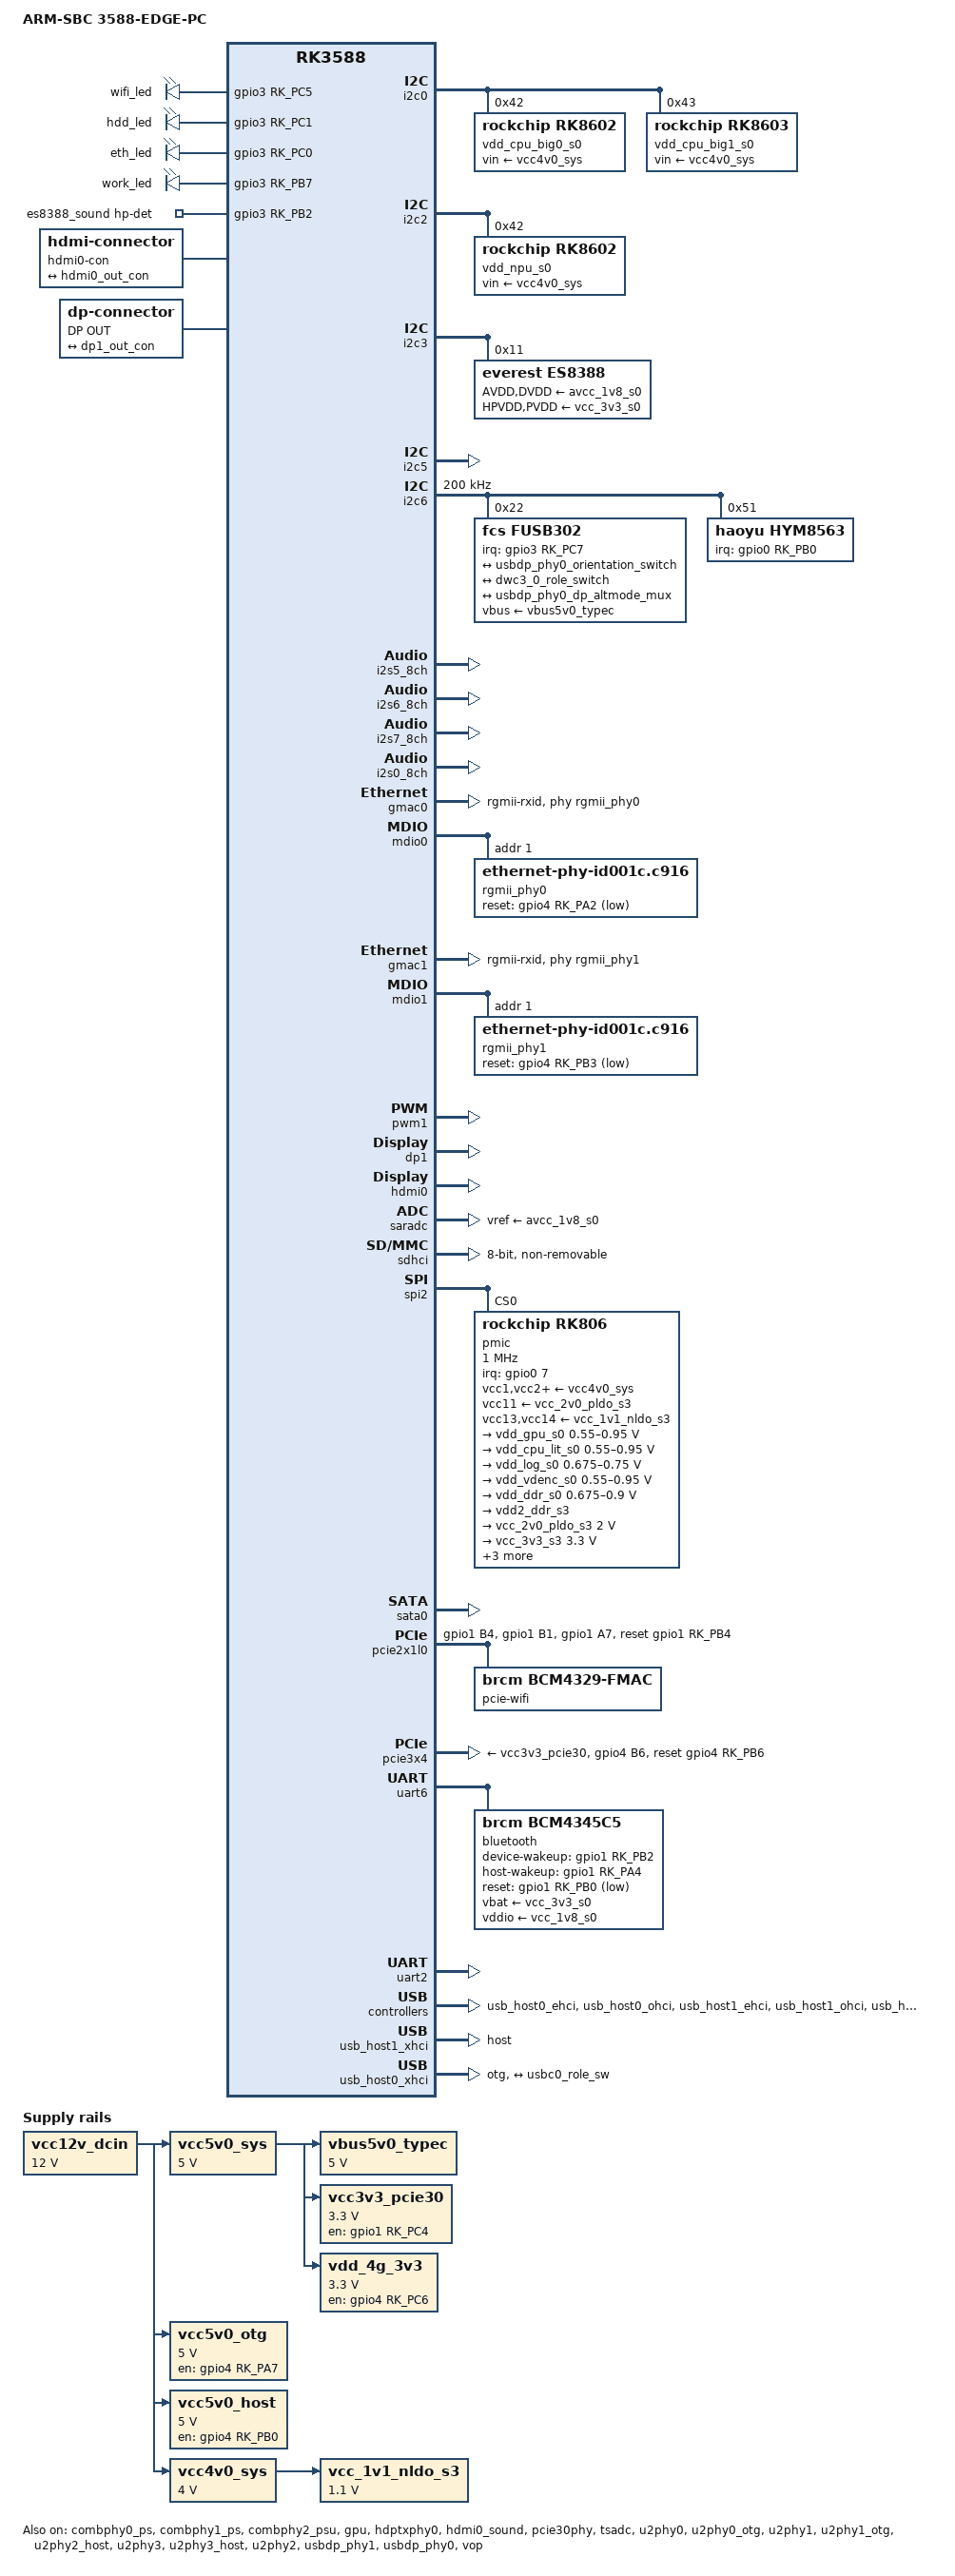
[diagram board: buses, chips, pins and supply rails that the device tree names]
// SPDX-License-Identifier: (GPL-2.0+ OR MIT)
/*
 * Copyright (c) ARM-SBC
 * Copyright (c) 2024 Subair Mullappilly msubair@hotmail.com
 *
 */

/dts-v1/;

#include <dt-bindings/gpio/gpio.h>
#include <dt-bindings/input/input.h>
#include <dt-bindings/pinctrl/rockchip.h>
#include <dt-bindings/usb/pd.h>
#include <dt-bindings/soc/rockchip,vop2.h>
#include "rk3588.dtsi"

/ {
	model = "ARM-SBC 3588-EDGE-PC";
	compatible = "armsbc,armsbc-3588-edge", "rockchip,rk3588";

	aliases {
		mmc0 = &sdhci;
		ethernet0 = &gmac0;
		ethernet1 = &gmac1;
	};

	chosen {
		stdout-path = "serial2:1500000n8";
	};
	
	leds: leds {
		compatible = "gpio-leds";
		wifi_led: wifi-led {
			gpios = <&gpio3 RK_PC5 GPIO_ACTIVE_HIGH>;
			default-state = "off";
		};
		hdd_led: hdd-led {
			gpios = <&gpio3 RK_PC1 GPIO_ACTIVE_HIGH>;
			default-state = "off";
		};
		eth_led: eth-led {
			gpios = <&gpio3 RK_PC0 GPIO_ACTIVE_HIGH>;
			default-state = "off";
		};
		work_led: work-led {
			gpios = <&gpio3 RK_PB7 GPIO_ACTIVE_HIGH>;
			default-state = "on";
		};
	};
	
	es8388_sound: es8388-sound {
		status = "okay";
		compatible = "rockchip,multicodecs-card";
		rockchip,card-name = "rockchip-es8388";
		hp-det-gpio = <&gpio3 RK_PB2 GPIO_ACTIVE_HIGH>;
		rockchip,format = "i2s";
		rockchip,mclk-fs = <256>;
		rockchip,cpu = <&i2s0_8ch>;
		rockchip,codec = <&es8388>;
		rockchip,audio-routing =
			"Headphone", "LOUT1",
			"Headphone", "ROUT1",
			"Speaker", "LOUT2",
			"Speaker", "ROUT2",
			"Headphone", "Headphone Power",
			"Headphone", "Headphone Power",
			"Speaker", "Speaker Power",
			"Speaker", "Speaker Power",
			"LINPUT1", "Main Mic",
			"LINPUT2", "Main Mic",
			"RINPUT1", "Headset Mic",
			"RINPUT2", "Headset Mic";
		pinctrl-names = "default";
		pinctrl-0 = <&hp_det>;
	};
	
	hdmi0-con {
		compatible = "hdmi-connector";
		type = "a";

		port {
			hdmi0_con_in: endpoint {
				remote-endpoint = <&hdmi0_out_con>;
			};
		};
	};
	
	dp-con {
		compatible = "dp-connector";
		label = "DP OUT";
		type = "full-size";

		port {
			dp_con_in: endpoint {
				remote-endpoint = <&dp1_out_con>;
			};
		};
	};

    	vcc12v_dcin: vcc12v-dcin-regulator {
		compatible = "regulator-fixed";
		regulator-name = "vcc12v_dcin";
		regulator-always-on;
		regulator-boot-on;
		regulator-min-microvolt = <12000000>;
		regulator-max-microvolt = <12000000>;
	};

	vcc5v0_sys: vcc5v0-sys-regulator {
		compatible = "regulator-fixed";
		regulator-name = "vcc5v0_sys";
		regulator-always-on;
		regulator-boot-on;
		regulator-min-microvolt = <5000000>;
		regulator-max-microvolt = <5000000>;
		vin-supply = <&vcc12v_dcin>;
	};
	
	vcc5v0_otg: vcc5v0-otg-regulator {
		compatible = "regulator-fixed";
		regulator-name = "vcc5v0_otg";
		regulator-always-on;
		regulator-boot-on;
		enable-active-high;
		gpio = <&gpio4 RK_PA7 GPIO_ACTIVE_HIGH>;
		pinctrl-names = "default";
		pinctrl-0 = <&otg_pwren>;
		regulator-min-microvolt = <5000000>;
		regulator-max-microvolt = <5000000>;
		vin-supply = <&vcc12v_dcin>;
	};
	
	vcc5v0_host: vcc5v0-host-regulator {
		compatible = "regulator-fixed";
		regulator-name = "vcc5v0_host";
		regulator-always-on;
		regulator-boot-on;
		enable-active-high;
		gpio = <&gpio4 RK_PB0 GPIO_ACTIVE_HIGH>;
		pinctrl-names = "default";
		pinctrl-0 = <&host_pwren>;
		regulator-min-microvolt = <5000000>;
		regulator-max-microvolt = <5000000>;
		vin-supply = <&vcc12v_dcin>;
	};

	vcc4v0_sys: vcc4v0-sys-regulator {
		compatible = "regulator-fixed";
		regulator-name = "vcc4v0_sys";
		regulator-always-on;
		regulator-boot-on;
		regulator-min-microvolt = <4000000>;
		regulator-max-microvolt = <4000000>;
		vin-supply = <&vcc12v_dcin>;
	};

	vcc_1v1_nldo_s3: vcc-1v1-nldo-s3-regulator {
		compatible = "regulator-fixed";
		regulator-name = "vcc-1v1-nldo-s3";
		regulator-always-on;
		regulator-boot-on;
		regulator-min-microvolt = <1100000>;
		regulator-max-microvolt = <1100000>;
		vin-supply = <&vcc4v0_sys>;
	};

	vbus5v0_typec: vbus5v0-typec-regulator {
		compatible = "regulator-fixed";
		enable-active-high;
		pinctrl-names = "default";
		regulator-name = "vbus5v0_typec";
		regulator-min-microvolt = <5000000>;
		regulator-max-microvolt = <5000000>;
		vin-supply = <&vcc5v0_sys>;
	};

	vcc3v3_pcie30: vcc3v3-pcie30-regulator {
		compatible = "regulator-fixed";
		enable-active-high;
		gpios = <&gpio1 RK_PC4 GPIO_ACTIVE_HIGH>;
		pinctrl-names = "default";
		pinctrl-0 = <&pcie30_pwren>;
		regulator-name = "vcc3v3_pcie30";
		regulator-min-microvolt = <3300000>;
		regulator-max-microvolt = <3300000>;
		vin-supply = <&vcc5v0_sys>;
	};
	
	vdd_4g_3v3: vdd-4g-3v3-regulator {
		compatible = "regulator-fixed";
		enable-active-high;
		gpio = <&gpio4 RK_PC6 GPIO_ACTIVE_HIGH>;
		pinctrl-names = "default";
		pinctrl-0 = <&pin_4g_lte_pwren>;
		regulator-name = "vdd_4g_3v3";
		regulator-min-microvolt = <3300000>;
		regulator-max-microvolt = <3300000>;
		vin-supply = <&vcc5v0_sys>;
	};
};

&i2c0 {
	pinctrl-names = "default";
	pinctrl-0 = <&i2c0m2_xfer>;
	status = "okay";

	vdd_cpu_big0_s0: regulator@42 {
		compatible = "rockchip,rk8602";
		reg = <0x42>;
		fcs,suspend-voltage-selector = <1>;
		regulator-name = "vdd_cpu_big0_s0";
		regulator-always-on;
		regulator-boot-on;
		regulator-min-microvolt = <550000>;
		regulator-max-microvolt = <1050000>;
		regulator-ramp-delay = <2300>;
		vin-supply = <&vcc4v0_sys>;

		regulator-state-mem {
			regulator-off-in-suspend;
		};
	};

	vdd_cpu_big1_s0: regulator@43 {
		compatible = "rockchip,rk8603", "rockchip,rk8602";
		reg = <0x43>;
		fcs,suspend-voltage-selector = <1>;
		regulator-name = "vdd_cpu_big1_s0";
		regulator-always-on;
		regulator-boot-on;
		regulator-min-microvolt = <550000>;
		regulator-max-microvolt = <1050000>;
		regulator-ramp-delay = <2300>;
		vin-supply = <&vcc4v0_sys>;

		regulator-state-mem {
			regulator-off-in-suspend;
		};
	};
};

&i2c2 {
	status = "okay";

	vdd_npu_s0: regulator@42 {
		compatible = "rockchip,rk8602";
		reg = <0x42>;
		rockchip,suspend-voltage-selector = <1>;
		regulator-name = "vdd_npu_s0";
		regulator-always-on;
		regulator-boot-on;
		regulator-min-microvolt = <550000>;
		regulator-max-microvolt = <950000>;
		regulator-ramp-delay = <2300>;
		vin-supply = <&vcc4v0_sys>;

		regulator-state-mem {
			regulator-off-in-suspend;
		};
	};
};

&i2c3 {
	status = "okay";

	es8388: es8388@11 {
		compatible = "everest,es8388";
		reg = <0x11>;
		assigned-clocks = <&cru I2S0_8CH_MCLKOUT>;
		assigned-clock-rates = <12288000>;
		clocks = <&cru I2S0_8CH_MCLKOUT>;
		clock-names = "mclk";
		AVDD-supply = <&avcc_1v8_s0>;
		DVDD-supply = <&avcc_1v8_s0>;
		HPVDD-supply = <&vcc_3v3_s0>;
		PVDD-supply = <&vcc_3v3_s0>;
		#sound-dai-cells = <0>;
	};
};

&i2c5 {
	status = "okay";
	pinctrl-0 = <&i2c5m3_xfer>;
	pinctrl-names = "default";
};

&i2c6 {
	clock-frequency = <200000>;
	status = "okay";

	fusb302: typec-portc@22 {
		compatible = "fcs,fusb302";
		reg = <0x22>;
		interrupt-parent = <&gpio3>;
		interrupts = <RK_PC7 IRQ_TYPE_LEVEL_LOW>;
		pinctrl-0 = <&usbc0_int>;
		pinctrl-names = "default";
		vbus-supply = <&vbus5v0_typec>;
		status = "okay";

		connector {
			compatible = "usb-c-connector";
			data-role = "dual";
			label = "USB-C";
			power-role = "dual";
			try-power-role = "sink";
			source-pdos = <PDO_FIXED(5000, 2000, PDO_FIXED_USB_COMM)>;
			sink-pdos = <PDO_FIXED(5000, 3000, PDO_FIXED_USB_COMM)>;
			op-sink-microwatt = <1000000>;
			
			ports {
				#address-cells = <1>;
				#size-cells = <0>;

				port@0 {
					reg = <0>;

					usbc0_orien_sw: endpoint {
						remote-endpoint = <&usbdp_phy0_orientation_switch>;
					};
				};

				port@1 {
					reg = <1>;

					usbc0_role_sw: endpoint {
						remote-endpoint = <&dwc3_0_role_switch>;
					};
				};

				port@2 {
					reg = <2>;

					dp_altmode_mux: endpoint {
						remote-endpoint = <&usbdp_phy0_dp_altmode_mux>;
					};
				};
			};
		};
	};

	hym8563: rtc@51 {
		compatible = "haoyu,hym8563";
		reg = <0x51>;
		#clock-cells = <0>;
		clock-output-names = "hym8563";
		pinctrl-names = "default";
		pinctrl-0 = <&hym8563_int>;
		interrupt-parent = <&gpio0>;
		interrupts = <RK_PB0 IRQ_TYPE_LEVEL_LOW>;
		wakeup-source;
	};
};

&i2s5_8ch {
	status = "okay";
};

&i2s6_8ch {
	status = "okay";
};

&i2s7_8ch {
	status = "okay";
};

&i2s0_8ch {
    status = "okay";
    pinctrl-0 = <&i2s0_lrck
             &i2s0_sclk
             &i2s0_sdi0
             &i2s0_sdo0>;
};

&combphy0_ps {
	status = "okay";
};

&combphy1_ps {
	status = "okay";
};

&combphy2_psu {
	status = "okay";
};

&cpu_l0 {
	cpu-supply = <&vdd_cpu_lit_s0>;
};

&cpu_l1 {
	cpu-supply = <&vdd_cpu_lit_s0>;
};

&cpu_l2 {
	cpu-supply = <&vdd_cpu_lit_s0>;
};

&cpu_l3 {
	cpu-supply = <&vdd_cpu_lit_s0>;
};

&cpu_b0 {
	cpu-supply = <&vdd_cpu_big0_s0>;
};

&cpu_b1 {
	cpu-supply = <&vdd_cpu_big0_s0>;
};

&cpu_b2 {
	cpu-supply = <&vdd_cpu_big1_s0>;
};

&cpu_b3 {
	cpu-supply = <&vdd_cpu_big1_s0>;
};

&gmac0 {
	clock_in_out = "output";
	phy-handle = <&rgmii_phy0>;
	phy-mode = "rgmii-rxid";
	pinctrl-names = "default";
	pinctrl-0 = <&gmac0_miim
		     &gmac0_clkinout
		     &gmac0_tx_bus2
		     &gmac0_rx_bus2
		     &gmac0_rgmii_clk
		     &gmac0_rgmii_bus>;
	rx_delay = <0x00>;
	tx_delay = <0x43>;
	status = "okay";
};

&mdio0 {
	rgmii_phy0: ethernet-phy@1 {
		compatible = "ethernet-phy-id001c.c916";
		reg = <0x1>;
		pinctrl-names = "default";
		pinctrl-0 = <&rtl8211f_rst>;
		reset-assert-us = <20000>;
		reset-deassert-us = <100000>;
		reset-gpios = <&gpio4 RK_PA2 GPIO_ACTIVE_LOW>;
	};
};

&gmac1 {
	clock_in_out = "output";
	phy-handle = <&rgmii_phy1>;
	phy-mode = "rgmii-rxid";
	pinctrl-names = "default";
	pinctrl-0 = <&gmac1_miim
		     &gmac1_clkinout
		     &gmac1_tx_bus2
		     &gmac1_rx_bus2
		     &gmac1_rgmii_clk
		     &gmac1_rgmii_bus>;
	rx_delay = <0x00>;
	tx_delay = <0x68>;
	status = "okay";
};

&mdio1 {
	rgmii_phy1: ethernet-phy@1 {
		compatible = "ethernet-phy-id001c.c916";
		reg = <0x1>;
		pinctrl-names = "default";
		pinctrl-0 = <&rtl8211_rst>;
		reset-assert-us = <20000>;
		reset-deassert-us = <100000>;
		reset-gpios = <&gpio4 RK_PB3 GPIO_ACTIVE_LOW>;
	};
};

&pinctrl {
	gpio-leds {
		sys_led_pin: sys-led-pin {
			rockchip,pins = <3 RK_PB7 RK_FUNC_GPIO &pcfg_pull_none>;
		};

		eth_led_pin: eth-led-pin {
			rockchip,pins = <3 RK_PC0 RK_FUNC_GPIO &pcfg_pull_none>;
		};
		
		hdd_led_pin: hdd-led-pin {
			rockchip,pins = <3 RK_PC1 RK_FUNC_GPIO &pcfg_pull_none>;
		};
		
		wifi_led_pin: wifi-led-pin {
			rockchip,pins = <3 RK_PC5 RK_FUNC_GPIO &pcfg_pull_none>;
		};
	};
	
	hdmi {
      		hdmirx_det: hdmirx-det {
            		rockchip,pins = <1 RK_PD5 RK_FUNC_GPIO &pcfg_pull_up>;
        		};
    		};
	
	ethernet {
		rtl8211_rst: rtl8211-rst {
			rockchip,pins = <4 RK_PB3 RK_FUNC_GPIO &pcfg_pull_none>;
		};
		
		rtl8211f_rst: rtl8211f-rst {
			rockchip,pins = <4 RK_PA2 RK_FUNC_GPIO &pcfg_pull_none>;
		};
	};
		
	headphone {
		hp_det: hp-det {
			rockchip,pins = <3 RK_PB2 RK_FUNC_GPIO &pcfg_pull_none>;
		};
	};

	hym8563 {
		hym8563_int: hym8563-int {
			rockchip,pins = <0 RK_PB2 RK_FUNC_GPIO &pcfg_pull_up>;
		};
	};
	
	wireless {
		wifi_host_wake_irq: wifi-host-wake_irq {
			rockchip,pins = <1 RK_PA7 RK_FUNC_GPIO &pcfg_pull_up>;
		};
		wifi_power_en: wifi-power-en {
			rockchip,pins = <1 RK_PB1 RK_FUNC_GPIO &pcfg_pull_up>;
		};
	};
		
	wireless-bluetooth {

		bt_reset_gpio: bt-reset-gpio {
			rockchip,pins = <1 RK_PB0 RK_FUNC_GPIO &pcfg_pull_none>;
		};

		bt_wake_gpio: bt-wake-gpio {
			rockchip,pins = <1 RK_PB2 RK_FUNC_GPIO &pcfg_pull_none>;
		};

		bt_irq_gpio: bt-irq-gpio {
			rockchip,pins = <1 RK_PA4 RK_FUNC_GPIO &pcfg_pull_none>;
		};
	};

	pcie {

		pcie30_pwren: pcie30-pwren {
			rockchip,pins = <1 RK_PC4 RK_FUNC_GPIO &pcfg_pull_up>;
		};

		pcie20_pwren: pcie20-pwren {
			rockchip,pins = <1 RK_PB1 RK_FUNC_GPIO &pcfg_pull_up>;
		};
		
		pcie2_reset: pcie2-reset {
			rockchip,pins = <1 RK_PB4 RK_FUNC_GPIO &pcfg_pull_up>;
		};
		
		pcie3_reset: pcie3-reset {
			rockchip,pins = <4 RK_PB6 RK_FUNC_GPIO &pcfg_pull_up>;
		};
	};

	usb {
		pin_4g_lte_pwren: 4g-lte-pwren {
			rockchip,pins = <4 RK_PC6 RK_FUNC_GPIO &pcfg_pull_up>;
		};

		usbc0_int: usbc0-int {
			rockchip,pins = <3 RK_PC7 RK_FUNC_GPIO &pcfg_pull_up>;
		};
		
		host_pwren: host-pwren {
			rockchip,pins = <4 RK_PB0 RK_FUNC_GPIO &pcfg_pull_up>;
		};
		
		otg_pwren: otg-pwren {
			rockchip,pins = <4 RK_PA7 RK_FUNC_GPIO &pcfg_pull_up>;
		};
	};
};

&pwm1 {
	pinctrl-0 = <&pwm1m1_pins>;
	status = "okay";
};

&dp1 {
	status = "okay";
	pinctrl-names = "default";
	pinctrl-0 = <&dp1m0_pins>;
};

&dp1_in {
	dp1_in_vp2: endpoint {
		remote-endpoint = <&vp2_out_dp1>;
	};
};

&dp1_out {
	dp1_out_con: endpoint {
		remote-endpoint = <&dp_con_in>;
	};
};

&gpu {
	mali-supply = <&vdd_gpu_s0>;
	status = "okay";
};

&hdmi0 {
	status = "okay";
};

&hdmi0_out {
	hdmi0_out_con: endpoint {
		remote-endpoint = <&hdmi0_con_in>;
	};
};

&hdmi0_in {
	hdmi0_in_vp0: endpoint {
		remote-endpoint = <&vp0_out_hdmi0>;
	};
};

&hdptxphy0 {
	status = "okay";
};

&hdmi0_sound {
	status = "okay";
};

&saradc {
	vref-supply = <&avcc_1v8_s0>;
	status = "okay";
};

&sdhci {
	bus-width = <8>;
	mmc-hs200-1_8v;
	no-sdio;
	no-sd;
	non-removable;
	pinctrl-names = "default";
	vqmmc-supply = <&vcc_1v8_s3>;
	status = "okay";
};

&spi2 {
	status = "okay";
	assigned-clocks = <&cru CLK_SPI2>;
	assigned-clock-rates = <200000000>;
	pinctrl-names = "default";
	pinctrl-0 = <&spi2m2_cs0 &spi2m2_pins>;
	num-cs = <1>;

	pmic@0 {
		compatible = "rockchip,rk806";
		spi-max-frequency = <1000000>;
		reg = <0x0>;

		interrupt-parent = <&gpio0>;
		interrupts = <7 IRQ_TYPE_LEVEL_LOW>;

		pinctrl-names = "default";
		pinctrl-0 = <&pmic_pins>, <&rk806_dvs1_null>,
			    <&rk806_dvs2_null>, <&rk806_dvs3_null>;

		system-power-controller;

		vcc1-supply = <&vcc4v0_sys>;
		vcc2-supply = <&vcc4v0_sys>;
		vcc3-supply = <&vcc4v0_sys>;
		vcc4-supply = <&vcc4v0_sys>;
		vcc5-supply = <&vcc4v0_sys>;
		vcc6-supply = <&vcc4v0_sys>;
		vcc7-supply = <&vcc4v0_sys>;
		vcc8-supply = <&vcc4v0_sys>;
		vcc9-supply = <&vcc4v0_sys>;
		vcc10-supply = <&vcc4v0_sys>;
		vcc11-supply = <&vcc_2v0_pldo_s3>;
		vcc12-supply = <&vcc4v0_sys>;
		vcc13-supply = <&vcc_1v1_nldo_s3>;
		vcc14-supply = <&vcc_1v1_nldo_s3>;
		vcca-supply = <&vcc4v0_sys>;

		gpio-controller;
		#gpio-cells = <2>;

		rk806_dvs1_null: dvs1-null-pins {
			pins = "gpio_pwrctrl1";
			function = "pin_fun0";
		};

		rk806_dvs2_null: dvs2-null-pins {
			pins = "gpio_pwrctrl2";
			function = "pin_fun0";
		};

		rk806_dvs3_null: dvs3-null-pins {
			pins = "gpio_pwrctrl3";
			function = "pin_fun0";
		};

		regulators {
			vdd_gpu_s0: vdd_gpu_mem_s0: dcdc-reg1 {
				regulator-boot-on;
				regulator-min-microvolt = <550000>;
				regulator-max-microvolt = <950000>;
				regulator-ramp-delay = <12500>;
				regulator-name = "vdd_gpu_s0";
				regulator-enable-ramp-delay = <400>;

				regulator-state-mem {
					regulator-off-in-suspend;
				};
			};

			vdd_cpu_lit_s0: vdd_cpu_lit_mem_s0: dcdc-reg2 {
				regulator-always-on;
				regulator-boot-on;
				regulator-min-microvolt = <550000>;
				regulator-max-microvolt = <950000>;
				regulator-ramp-delay = <12500>;
				regulator-name = "vdd_cpu_lit_s0";

				regulator-state-mem {
					regulator-off-in-suspend;
				};
			};

			vdd_log_s0: dcdc-reg3 {
				regulator-always-on;
				regulator-boot-on;
				regulator-min-microvolt = <675000>;
				regulator-max-microvolt = <750000>;
				regulator-ramp-delay = <12500>;
				regulator-name = "vdd_log_s0";

				regulator-state-mem {
					regulator-off-in-suspend;
					regulator-suspend-microvolt = <750000>;
				};
			};

			vdd_vdenc_s0: vdd_vdenc_mem_s0: dcdc-reg4 {
				regulator-always-on;
				regulator-boot-on;
				regulator-min-microvolt = <550000>;
				regulator-max-microvolt = <950000>;
				regulator-init-microvolt = <750000>;
				regulator-ramp-delay = <12500>;
				regulator-name = "vdd_vdenc_s0";

				regulator-state-mem {
					regulator-off-in-suspend;
				};
			};

			vdd_ddr_s0: dcdc-reg5 {
				regulator-always-on;
				regulator-boot-on;
				regulator-min-microvolt = <675000>;
				regulator-max-microvolt = <900000>;
				regulator-ramp-delay = <12500>;
				regulator-name = "vdd_ddr_s0";

				regulator-state-mem {
					regulator-off-in-suspend;
					regulator-suspend-microvolt = <850000>;
				};
			};

			vdd2_ddr_s3: dcdc-reg6 {
				regulator-always-on;
				regulator-boot-on;
				regulator-name = "vdd2_ddr_s3";

				regulator-state-mem {
					regulator-on-in-suspend;
				};
			};

			vcc_2v0_pldo_s3: dcdc-reg7 {
				regulator-always-on;
				regulator-boot-on;
				regulator-min-microvolt = <2000000>;
				regulator-max-microvolt = <2000000>;
				regulator-ramp-delay = <12500>;
				regulator-name = "vdd_2v0_pldo_s3";

				regulator-state-mem {
					regulator-on-in-suspend;
					regulator-suspend-microvolt = <2000000>;
				};
			};

			vcc_3v3_s3: dcdc-reg8 {
				regulator-always-on;
				regulator-boot-on;
				regulator-min-microvolt = <3300000>;
				regulator-max-microvolt = <3300000>;
				regulator-name = "vcc_3v3_s3";

				regulator-state-mem {
					regulator-on-in-suspend;
					regulator-suspend-microvolt = <3300000>;
				};
			};

			vddq_ddr_s0: dcdc-reg9 {
				regulator-always-on;
				regulator-boot-on;
				regulator-name = "vddq_ddr_s0";

				regulator-state-mem {
					regulator-off-in-suspend;
				};
			};

			vcc_1v8_s3: dcdc-reg10 {
				regulator-always-on;
				regulator-boot-on;
				regulator-min-microvolt = <1800000>;
				regulator-max-microvolt = <1800000>;
				regulator-name = "vcc_1v8_s3";

				regulator-state-mem {
					regulator-on-in-suspend;
					regulator-suspend-microvolt = <1800000>;
				};
			};

			avcc_1v8_s0: pldo-reg1 {
				regulator-always-on;
				regulator-boot-on;
				regulator-min-microvolt = <1800000>;
				regulator-max-microvolt = <1800000>;
				regulator-name = "avcc_1v8_s0";

				regulator-state-mem {
					regulator-off-in-suspend;
				};
			};

			vcc_1v8_s0: pldo-reg2 {
				regulator-always-on;
				regulator-boot-on;
				regulator-min-microvolt = <1800000>;
				regulator-max-microvolt = <1800000>;
				regulator-name = "vcc_1v8_s0";

				regulator-state-mem {
					regulator-off-in-suspend;
					regulator-suspend-microvolt = <1800000>;
				};
			};

			avdd_1v2_s0: pldo-reg3 {
				regulator-always-on;
				regulator-boot-on;
				regulator-min-microvolt = <1200000>;
				regulator-max-microvolt = <1200000>;
				regulator-name = "avdd_1v2_s0";

				regulator-state-mem {
					regulator-off-in-suspend;
				};
			};

			vcc_3v3_s0: pldo-reg4 {
				regulator-always-on;
				regulator-boot-on;
				regulator-min-microvolt = <3300000>;
				regulator-max-microvolt = <3300000>;
				regulator-ramp-delay = <12500>;
				regulator-name = "vcc_3v3_s0";

				regulator-state-mem {
					regulator-off-in-suspend;
				};
			};

			vccio_sd_s0: pldo-reg5 {
				regulator-always-on;
				regulator-boot-on;
				regulator-min-microvolt = <1800000>;
				regulator-max-microvolt = <3300000>;
				regulator-ramp-delay = <12500>;
				regulator-name = "vccio_sd_s0";

				regulator-state-mem {
					regulator-off-in-suspend;
				};
			};

			pldo6_s3: pldo-reg6 {
				regulator-always-on;
				regulator-boot-on;
				regulator-min-microvolt = <1800000>;
				regulator-max-microvolt = <1800000>;
				regulator-name = "pldo6_s3";

				regulator-state-mem {
					regulator-on-in-suspend;
					regulator-suspend-microvolt = <1800000>;
				};
			};

			vdd_0v75_s3: nldo-reg1 {
				regulator-always-on;
				regulator-boot-on;
				regulator-min-microvolt = <750000>;
				regulator-max-microvolt = <750000>;
				regulator-name = "vdd_0v75_s3";

				regulator-state-mem {
					regulator-on-in-suspend;
					regulator-suspend-microvolt = <750000>;
				};
			};

			vdd_ddr_pll_s0: nldo-reg2 {
				regulator-always-on;
				regulator-boot-on;
				regulator-min-microvolt = <850000>;
				regulator-max-microvolt = <850000>;
				regulator-name = "vdd_ddr_pll_s0";

				regulator-state-mem {
					regulator-off-in-suspend;
					regulator-suspend-microvolt = <850000>;
				};
			};

			avdd_0v75_s0: nldo-reg3 {
				regulator-always-on;
				regulator-boot-on;
				regulator-min-microvolt = <750000>;
				regulator-max-microvolt = <750000>;
				regulator-name = "avdd_0v75_s0";

				regulator-state-mem {
					regulator-off-in-suspend;
				};
			};

			vdd_0v85_s0: nldo-reg4 {
				regulator-always-on;
				regulator-boot-on;
				regulator-min-microvolt = <850000>;
				regulator-max-microvolt = <850000>;
				regulator-name = "vdd_0v85_s0";

				regulator-state-mem {
					regulator-off-in-suspend;
				};
			};

			vdd_0v75_s0: nldo-reg5 {
				regulator-always-on;
				regulator-boot-on;
				regulator-min-microvolt = <750000>;
				regulator-max-microvolt = <750000>;
				regulator-name = "vdd_0v75_s0";

				regulator-state-mem {
					regulator-off-in-suspend;
				};
			};
		};
	};
};

&sata0 {
	status = "okay";
};

&pcie2x1l0 {
        reset-gpios = <&gpio1 RK_PB4 GPIO_ACTIVE_HIGH>;
        pinctrl-names = "default";
        pinctrl-0 = <&pcie2_reset>,<&wifi_power_en>, <&wifi_host_wake_irq>;
        rockchip,skip-scan-in-resume;
        status = "okay";
        
        pcie-wifi {
        	compatible = "brcm,bcm4329-fmac", "pci14e4,449d";
 		clocks = <&hym8563>;
		clock-names = "lpo";
		pinctrl-names = "default";
		pinctrl-0 = <&wifi_power_en>, <&wifi_host_wake_irq>;
	};
};

&pcie30phy {
	status = "okay";
};

&pcie3x4 {
	reset-gpios = <&gpio4 RK_PB6 GPIO_ACTIVE_HIGH>;
	vpcie3v3-supply = <&vcc3v3_pcie30>;
	pinctrl-names = "default";
	pinctrl-0 = <&pcie3_reset>;
	status = "okay";
};

&uart6 {
	pinctrl-0 = <&uart6m1_xfer>, <&uart6m1_ctsn>, <&uart6m1_rtsn>;
	uart-has-rtscts;
	pinctrl-names = "default";
	status = "okay";
	
	bluetooth {
		compatible = "brcm,bcm4345c5";
		clock-names = "ext_clock";
		clocks = <&hym8563>;
		device-wakeup-gpios = <&gpio1 RK_PB2 GPIO_ACTIVE_HIGH>;
		host-wakeup-gpios = <&gpio1 RK_PA4 GPIO_ACTIVE_HIGH>;
		reset-gpios = <&gpio1 RK_PB0 GPIO_ACTIVE_LOW>;
		pinctrl-names = "default";
		pinctrl-0 = <&bt_reset_gpio>, <&bt_wake_gpio> ,<&bt_irq_gpio>;
		vbat-supply = <&vcc_3v3_s0>;
		vddio-supply = <&vcc_1v8_s0>;
	};
	
};

&tsadc {
	status = "okay";
};

&uart2 {
	pinctrl-0 = <&uart2m0_xfer>;
	status = "okay";
};

&u2phy0 {
	status = "okay";
};

&u2phy0_otg {
	status = "okay";
};

&u2phy1 {
	status = "okay";
};

&u2phy1_otg {
	phy-supply = <&vcc5v0_host>;
	status = "okay";
};

&u2phy2_host {
	phy-supply = <&vcc5v0_host>;
	status = "okay";
};

&u2phy3 {
	status = "okay";
};

&u2phy3_host {
	phy-supply = <&vcc5v0_host>;
	status = "okay";
};

&u2phy2 {
	status = "okay";
};

&usb_host0_ehci {
	status = "okay";
};

&usb_host0_ohci {
	status = "okay";
};

&usb_host1_ehci {
	status = "okay";
};

&usb_host1_ohci {
	status = "okay";
};

&usb_host1_xhci {
	dr_mode = "host";
	status = "okay";
};

&usb_host2_xhci {
	status = "okay";
};


&usbdp_phy1 {
	//rockchip,dp-lane-mux = <2 3>;
	rockchip,dp-lane-mux = < 0 1 2 3 >;
	status = "okay";
};

&usbdp_phy0 {
	mode-switch;
	orientation-switch;
	sbu1-dc-gpios = <&gpio0 RK_PC6 GPIO_ACTIVE_HIGH>;
	sbu2-dc-gpios = <&gpio0 RK_PD3 GPIO_ACTIVE_HIGH>;
	status = "okay";

	port {
		#address-cells = <1>;
		#size-cells = <0>;

		usbdp_phy0_orientation_switch: endpoint@0 {
			reg = <0>;
			remote-endpoint = <&usbc0_orien_sw>;
		};

		usbdp_phy0_dp_altmode_mux: endpoint@1 {
			reg = <1>;
			remote-endpoint = <&dp_altmode_mux>;
		};
	};
};

&usb_host0_xhci {
	dr_mode = "otg";
	usb-role-switch;
	status = "okay";

	port {
		#address-cells = <1>;
		#size-cells = <0>;

		dwc3_0_role_switch: endpoint@0 {
			reg = <0>;
			remote-endpoint = <&usbc0_role_sw>;
		};
	};
};

&vop {
	status = "okay";
};

&vop_mmu {
	status = "okay";
};

&vp0 {
	vp0_out_hdmi0: endpoint@ROCKCHIP_VOP2_EP_HDMI0 {
		reg = <ROCKCHIP_VOP2_EP_HDMI0>;
		remote-endpoint = <&hdmi0_in_vp0>;
	};
};

&vp2 {
	vp2_out_dp1: endpoint@b {
		reg = <ROCKCHIP_VOP2_EP_DP1>;
		remote-endpoint = <&dp1_in_vp2>;
	};
};
